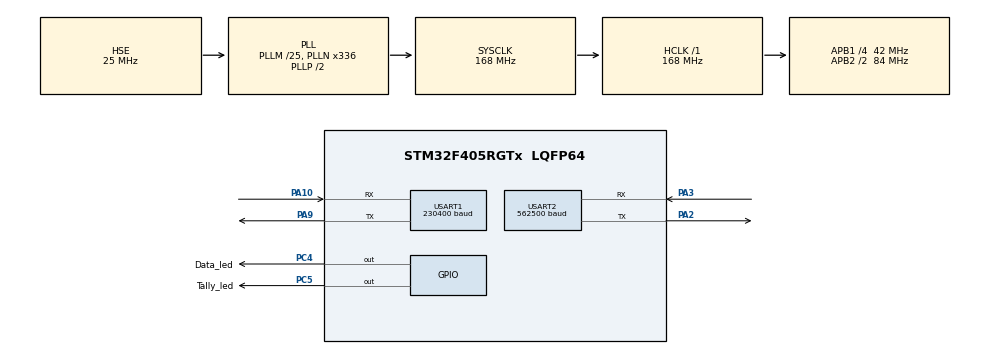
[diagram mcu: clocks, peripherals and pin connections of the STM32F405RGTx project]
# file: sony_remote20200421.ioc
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Dma.Request0=USART1_RX
Dma.Request1=USART1_TX
Dma.Request2=USART2_RX
Dma.Request3=USART2_TX
Dma.USART1_RX.0.Direction=DMA_PERIPH_TO_MEMORY
Dma.USART1_RX.0.FIFOMode=DMA_FIFOMODE_DISABLE
Dma.USART1_RX.0.Instance=DMA2_Stream2
Dma.USART1_RX.0.MemDataAlignment=DMA_MDATAALIGN_BYTE
Dma.USART1_RX.0.MemInc=DMA_MINC_ENABLE
Dma.USART1_RX.0.Mode=DMA_CIRCULAR
Dma.USART1_RX.0.PeriphDataAlignment=DMA_PDATAALIGN_BYTE
Dma.USART1_RX.0.PeriphInc=DMA_PINC_DISABLE
Dma.USART1_RX.0.Priority=DMA_PRIORITY_HIGH
Dma.USART1_TX.1.Direction=DMA_MEMORY_TO_PERIPH
Dma.USART1_TX.1.FIFOMode=DMA_FIFOMODE_DISABLE
Dma.USART1_TX.1.Instance=DMA2_Stream7
Dma.USART1_TX.1.MemDataAlignment=DMA_MDATAALIGN_BYTE
Dma.USART1_TX.1.MemInc=DMA_MINC_ENABLE
Dma.USART1_TX.1.Mode=DMA_NORMAL
Dma.USART1_TX.1.PeriphDataAlignment=DMA_PDATAALIGN_BYTE
Dma.USART1_TX.1.PeriphInc=DMA_PINC_DISABLE
Dma.USART1_TX.1.Priority=DMA_PRIORITY_HIGH
Dma.USART2_RX.2.Direction=DMA_PERIPH_TO_MEMORY
Dma.USART2_RX.2.FIFOMode=DMA_FIFOMODE_DISABLE
Dma.USART2_RX.2.Instance=DMA1_Stream5
Dma.USART2_RX.2.MemDataAlignment=DMA_MDATAALIGN_HALFWORD
Dma.USART2_RX.2.MemInc=DMA_MINC_ENABLE
Dma.USART2_RX.2.Mode=DMA_CIRCULAR
Dma.USART2_RX.2.PeriphDataAlignment=DMA_PDATAALIGN_HALFWORD
Dma.USART2_RX.2.PeriphInc=DMA_PINC_DISABLE
Dma.USART2_RX.2.Priority=DMA_PRIORITY_VERY_HIGH
Dma.USART2_TX.3.Direction=DMA_MEMORY_TO_PERIPH
Dma.USART2_TX.3.FIFOMode=DMA_FIFOMODE_DISABLE
Dma.USART2_TX.3.Instance=DMA1_Stream6
Dma.USART2_TX.3.MemDataAlignment=DMA_MDATAALIGN_HALFWORD
Dma.USART2_TX.3.MemInc=DMA_MINC_ENABLE
Dma.USART2_TX.3.Mode=DMA_NORMAL
Dma.USART2_TX.3.PeriphDataAlignment=DMA_PDATAALIGN_HALFWORD
Dma.USART2_TX.3.PeriphInc=DMA_PINC_DISABLE
Dma.USART2_TX.3.Priority=DMA_PRIORITY_VERY_HIGH
FREERTOS.INCLUDE_vTaskCleanUpResources=0
FREERTOS.INCLUDE_vTaskDelayUntil=0
FREERTOS.Tasks01=defaultTask,1,256,StartDefaultTask,Default,NULL,Dynamic,NULL,NULL;TaskUart8to9,0,4096,FuncTaskUart8to9,Default,NULL,Dynamic,NULL,NULL;TaskUart9to8,0,4096,FuncTaskUart9to8,Default,NULL,Dynamic,NULL,NULL
FREERTOS.configMAX_TASK_NAME_LEN=32
FREERTOS.configTOTAL_HEAP_SIZE=40960
FREERTOS.configUSE_COUNTING_SEMAPHORES=1
FREERTOS.configUSE_IDLE_HOOK=1
FREERTOS.configUSE_TRACE_FACILITY=1
IWDG.Prescaler=IWDG_PRESCALER_32
IWDG.Reload=1000
Mcu.Family=STM32F4
Mcu.Name=STM32F405RGTx
Mcu.Package=LQFP64
NVIC.DMA1_Stream5_IRQn=true\:5\:0\:false\:false\:true\:true\:false\:true
NVIC.DMA1_Stream6_IRQn=true\:5\:0\:false\:false\:true\:true\:false\:true
NVIC.DMA2_Stream2_IRQn=true\:5\:0\:false\:false\:true\:true\:false\:true
NVIC.DMA2_Stream7_IRQn=true\:5\:0\:false\:false\:true\:true\:false\:true
NVIC.PriorityGroup=NVIC_PRIORITYGROUP_4
NVIC.TIM1_UP_TIM10_IRQn=true\:0\:0\:false\:false\:true\:false\:false\:true
NVIC.TimeBase=TIM1_UP_TIM10_IRQn
NVIC.TimeBaseIP=TIM1
NVIC.USART1_IRQn=true\:5\:0\:false\:false\:true\:true\:true\:true
NVIC.USART2_IRQn=true\:5\:0\:false\:false\:true\:true\:true\:true
PA10.Mode=Asynchronous
PA10.Signal=USART1_RX
PA13.Mode=Serial_Wire
PA13.Signal=SYS_JTMS-SWDIO
PA14.Mode=Serial_Wire
PA14.Signal=SYS_JTCK-SWCLK
PA2.Mode=Asynchronous
PA2.Signal=USART2_TX
PA3.Mode=Asynchronous
PA3.Signal=USART2_RX
PA9.Mode=Asynchronous
PA9.Signal=USART1_TX
PC4.GPIO_Label=Data_led
PC4.GPIO_PuPd=GPIO_PULLUP
PC4.GPIO_Speed=GPIO_SPEED_FREQ_HIGH
PC4.PinState=GPIO_PIN_SET
PC4.Signal=GPIO_Output
PC5.GPIO_Label=Tally_led
PC5.GPIO_PuPd=GPIO_PULLUP
PC5.GPIO_Speed=GPIO_SPEED_FREQ_HIGH
PC5.PinState=GPIO_PIN_SET
PC5.Signal=GPIO_Output
PH0-OSC_IN.Mode=HSE-External-Oscillator
PH0-OSC_IN.Signal=RCC_OSC_IN
PH1-OSC_OUT.Mode=HSE-External-Oscillator
PH1-OSC_OUT.Signal=RCC_OSC_OUT
ProjectManager.HeapSize=0x200
ProjectManager.StackSize=0x400
ProjectManager.TargetToolchain=MDK-ARM V5
RCC.48MHZClocksFreq_Value=84000000
RCC.AHBFreq_Value=168000000
RCC.APB1CLKDivider=RCC_HCLK_DIV4
RCC.APB1Freq_Value=42000000
RCC.APB1TimFreq_Value=84000000
RCC.APB2CLKDivider=RCC_HCLK_DIV2
RCC.APB2Freq_Value=84000000
RCC.APB2TimFreq_Value=168000000
RCC.CortexFreq_Value=168000000
RCC.HCLKFreq_Value=168000000
RCC.HSE_VALUE=25000000
RCC.HSI_VALUE=16000000
RCC.LSE_VALUE=32768
RCC.PLLM=25
RCC.PLLN=336
RCC.PLLSourceVirtual=RCC_PLLSOURCE_HSE
RCC.SYSCLKFreq_VALUE=168000000
RCC.SYSCLKSource=RCC_SYSCLKSOURCE_PLLCLK
RCC.VCOOutputFreq_Value=336000000
USART1.BaudRate=230400
USART1.VirtualMode=VM_ASYNC
USART2.BaudRate=562500
USART2.VirtualMode=VM_ASYNC
USART2.WordLength=WORDLENGTH_9B
VP_FREERTOS_VS_CMSIS_V1.Mode=CMSIS_V1
VP_IWDG_VS_IWDG.Mode=IWDG_Activate
VP_SYS_VS_tim1.Mode=TIM1
board=custom

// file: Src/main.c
/* USER CODE BEGIN Header */
/**
  ******************************************************************************
  * @file           : main.c
  * @brief          : Main program body
  ******************************************************************************
  * @attention
  *
  * <h2><center>&copy; Copyright (c) 2020 STMicroelectronics.
  * All rights reserved.</center></h2>
  *
  * This software component is licensed by ST under Ultimate Liberty license
  * SLA0044, the "License"; You may not use this file except in compliance with
  * the License. You may obtain a copy of the License at:
  *                             www.st.com/SLA0044
  *
  ******************************************************************************
  */
/* USER CODE END Header */

#include "main.h"
#include "cmsis_os.h"
#include "dma.h"
#include "iwdg.h"
#include "usart.h"
#include "gpio.h"

void SystemClock_Config(void);
void MX_FREERTOS_Init(void);

int main(void)
{

  /* MCU Configuration--------------------------------------------------------*/

  /* Reset of all peripherals, Initializes the Flash interface and the Systick. */
  HAL_Init();

  /* Configure the system clock */
  SystemClock_Config();

  /* USER CODE BEGIN SysInit */
	osDelay(505);
  /* USER CODE END SysInit */

  /* Initialize all configured peripherals */
  MX_GPIO_Init();
  MX_DMA_Init();
  MX_USART1_UART_Init();
  MX_USART2_UART_Init();
  MX_IWDG_Init();
  /* USER CODE BEGIN 2 */
	osDelay(505);
  /* USER CODE END 2 */

  /* Call init function for freertos objects (in freertos.c) */
  MX_FREERTOS_Init();

	HAL_IWDG_Refresh(&hiwdg);
  /* Start scheduler */
  osKernelStart();

  /* We should never get here as control is now taken by the scheduler */
  /* Infinite loop */
  while (1)
  {

  }
}

void SystemClock_Config(void)
{
  RCC_OscInitTypeDef RCC_OscInitStruct = {0};
  RCC_ClkInitTypeDef RCC_ClkInitStruct = {0};

  /** Configure the main internal regulator output voltage
  */
  __HAL_RCC_PWR_CLK_ENABLE();
  __HAL_PWR_VOLTAGESCALING_CONFIG(PWR_REGULATOR_VOLTAGE_SCALE1);
  /** Initializes the CPU, AHB and APB busses clocks
  */
  RCC_OscInitStruct.OscillatorType = RCC_OSCILLATORTYPE_LSI|RCC_OSCILLATORTYPE_HSE;
  RCC_OscInitStruct.HSEState = RCC_HSE_ON;
  RCC_OscInitStruct.LSIState = RCC_LSI_ON;
  RCC_OscInitStruct.PLL.PLLState = RCC_PLL_ON;
  RCC_OscInitStruct.PLL.PLLSource = RCC_PLLSOURCE_HSE;
  RCC_OscInitStruct.PLL.PLLM = 25;
  RCC_OscInitStruct.PLL.PLLN = 336;
  RCC_OscInitStruct.PLL.PLLP = RCC_PLLP_DIV2;
  RCC_OscInitStruct.PLL.PLLQ = 4;
  if (HAL_RCC_OscConfig(&RCC_OscInitStruct) != HAL_OK)
  {
    Error_Handler();
  }
  /** Initializes the CPU, AHB and APB busses clocks
  */
  RCC_ClkInitStruct.ClockType = RCC_CLOCKTYPE_HCLK|RCC_CLOCKTYPE_SYSCLK
                              |RCC_CLOCKTYPE_PCLK1|RCC_CLOCKTYPE_PCLK2;
  RCC_ClkInitStruct.SYSCLKSource = RCC_SYSCLKSOURCE_PLLCLK;
  RCC_ClkInitStruct.AHBCLKDivider = RCC_SYSCLK_DIV1;
  RCC_ClkInitStruct.APB1CLKDivider = RCC_HCLK_DIV4;
  RCC_ClkInitStruct.APB2CLKDivider = RCC_HCLK_DIV2;

  if (HAL_RCC_ClockConfig(&RCC_ClkInitStruct, FLASH_LATENCY_5) != HAL_OK)
  {
    Error_Handler();
  }
}

 /**
  * @brief  Period elapsed callback in non blocking mode
  * @note   This function is called  when TIM1 interrupt took place, inside
  * HAL_TIM_IRQHandler(). It makes a direct call to HAL_IncTick() to increment
  * a global variable "uwTick" used as application time base.
  * @param  htim : TIM handle
  * @retval None
  */
void HAL_TIM_PeriodElapsedCallback(TIM_HandleTypeDef *htim)
{
  if (htim->Instance == TIM1) {
    HAL_IncTick();
  }
}

void Error_Handler(void)
{
}

/************************ (C) COPYRIGHT STMicroelectronics *****END OF FILE****/

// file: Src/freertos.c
/* USER CODE BEGIN Header */
/**
  ******************************************************************************
  * File Name          : freertos.c
  * Description        : Code for freertos applications
  ******************************************************************************
  * @attention
  *
  * <h2><center>&copy; Copyright (c) 2020 STMicroelectronics.
  * All rights reserved.</center></h2>
  *
  * This software component is licensed by ST under Ultimate Liberty license
  * SLA0044, the "License"; You may not use this file except in compliance with
  * the License. You may obtain a copy of the License at:
  *                             www.st.com/SLA0044
  *
  ******************************************************************************
  */
/* USER CODE END Header */

#include "FreeRTOS.h"
#include "task.h"
#include "main.h"
#include "cmsis_os.h"

/* USER CODE BEGIN Includes */
#include "usart.h"
#include "dma.h"
#include "lpk_queue.h"
#include "lpk_type.h"
#include "lpk_util.h"
#include "slip.h"
#include "iwdg.h"
/* USER CODE END Includes */

/* USER CODE BEGIN Variables */

u8 buff_8bit[1024] = {0};//队列数组
u8 buff_9bit[1024] = {0};//队列数组
QUE_TYPE que_8bit = {buff_8bit, sizeof(buff_8bit), 0, 0, 0};//队列定义
QUE_TYPE que_9bit = {buff_9bit, sizeof(buff_9bit), 0, 0, 0};//队列定义

/* USER CODE END Variables */
osThreadId defaultTaskHandle;
osThreadId TaskUart8to9Handle;
osThreadId TaskUart9to8Handle;

/* USER CODE BEGIN FunctionPrototypes */

u8 GetEven(u8 x);
u8 Sum8Check(u8 *buf, u32 len);

/* USER CODE END FunctionPrototypes */

void StartDefaultTask(void const * argument);
void FuncTaskUart8to9(void const * argument);
void FuncTaskUart9to8(void const * argument);

void MX_FREERTOS_Init(void); /* (MISRA C 2004 rule 8.1) */

/* GetIdleTaskMemory prototype (linked to static allocation support) */
void vApplicationGetIdleTaskMemory( StaticTask_t **ppxIdleTaskTCBBuffer, StackType_t **ppxIdleTaskStackBuffer, uint32_t *pulIdleTaskStackSize );

/* Hook prototypes */
void vApplicationIdleHook(void);

/* USER CODE BEGIN 2 */
__weak void vApplicationIdleHook( void )
{
   /* vApplicationIdleHook() will only be called if configUSE_IDLE_HOOK is set
   to 1 in FreeRTOSConfig.h. It will be called on each iteration of the idle
   task. It is essential that code added to this hook function never attempts
   to block in any way (for example, call xQueueReceive() with a block time
   specified, or call vTaskDelay()). If the application makes use of the
   vTaskDelete() API function (as this demo application does) then it is also
   important that vApplicationIdleHook() is permitted to return to its calling
   function, because it is the responsibility of the idle task to clean up
   memory allocated by the kernel to any task that has since been deleted. */
}
/* USER CODE END 2 */

/* USER CODE BEGIN GET_IDLE_TASK_MEMORY */
static StaticTask_t xIdleTaskTCBBuffer;
static StackType_t xIdleStack[configMINIMAL_STACK_SIZE];

void vApplicationGetIdleTaskMemory( StaticTask_t **ppxIdleTaskTCBBuffer, StackType_t **ppxIdleTaskStackBuffer, uint32_t *pulIdleTaskStackSize )
{
  *ppxIdleTaskTCBBuffer = &xIdleTaskTCBBuffer;
  *ppxIdleTaskStackBuffer = &xIdleStack[0];
  *pulIdleTaskStackSize = configMINIMAL_STACK_SIZE;
  /* place for user code */
}
/* USER CODE END GET_IDLE_TASK_MEMORY */

void MX_FREERTOS_Init(void) {

  /* Create the thread(s) */
  /* definition and creation of defaultTask */
  osThreadDef(defaultTask, StartDefaultTask, osPriorityAboveNormal, 0, 256);
  defaultTaskHandle = osThreadCreate(osThread(defaultTask), NULL);

  /* definition and creation of TaskUart8to9 */
  osThreadDef(TaskUart8to9, FuncTaskUart8to9, osPriorityNormal, 0, 4096);
  TaskUart8to9Handle = osThreadCreate(osThread(TaskUart8to9), NULL);

  /* definition and creation of TaskUart9to8 */
  osThreadDef(TaskUart9to8, FuncTaskUart9to8, osPriorityNormal, 0, 4096);
  TaskUart9to8Handle = osThreadCreate(osThread(TaskUart9to8), NULL);

}

void StartDefaultTask(void const * argument)
{
  /* USER CODE BEGIN StartDefaultTask */
	 for(;;)
  {
		HAL_IWDG_Refresh(&hiwdg);

    osDelay(500);
    // HAL_UART_Transmit_DMA(&huart1, "tick\r\n", 7);//DMA数据发�??
  }

  /* Infinite loop */

  /* USER CODE END StartDefaultTask */
}

void FuncTaskUart8to9(void const * argument)
{
  /* USER CODE BEGIN FuncTaskUart8to9 */

	  u8 data_recv[1024] = "";//数据接收缓冲�?
  u8 *data_recv_tmp = data_recv;
  u8 data_unslip[1024] = "";
  u8 data_send[1024] = "";//数据发�?�DMA缓冲�?
  u32 len = 0;
  u32 len_out;
  u32 len_remain = 0;
  u32 i = 0;
	//osDelay(1005);

  __HAL_UART_ENABLE_IT(&huart1, UART_IT_IDLE);//打开uart1数据接收中断
  DmaRxStart(&huart1);//�?始DMA数据接收

  /* Infinite loop */
    for(;;)
  {
    // osDelay(100);
    //?????? ,?????????
    ulTaskNotifyTake(pdFALSE, portMAX_DELAY);

    len = QuePop(&que_8bit, data_recv, sizeof(data_recv));//???????
    HAL_GPIO_TogglePin(GPIOC, Tally_led_Pin);

    data_recv_tmp = SlipUnpacket(data_recv, len, data_unslip, &len_out);

    while(len_out > 0){
      SEGGER_RTT_printf(0,"receive from wirless\r\n");

      // while(HAL_UART_Transmit_DMA(&huart1, "mark1\r\n", 7) != HAL_OK);//DMA数据发�??
      if(Sum8Check(data_unslip, len_out)){
        for(i = 0; i < len_out; i++){
          data_send[i << 1] = data_unslip[i];
          if(i < 3){
            data_send[(i << 1) + 1] = GetEven(data_unslip[i]);//??????
          }else{
            data_send[(i << 1) + 1] = GetEven(data_unslip[i]) ? 0 : 1;//??????
          }
        }
      }
      while(HAL_UART_Transmit_DMA(&huart2, data_send, len_out) != HAL_OK);//DMA��据发???
      SEGGER_RTT_printf(0,"send to cam\r\n");

      len_remain = len - (data_recv_tmp - data_recv);
      data_recv_tmp = SlipUnpacket(data_recv_tmp, len_remain, data_unslip, &len_out);
    }

  }
  /* USER CODE END FuncTaskUart8to9 */
}

void FuncTaskUart9to8(void const * argument)
{
  /* USER CODE BEGIN FuncTaskUart9to8 */

	u8 data_recv[1024] = "";//数据接收缓冲�?
  u8 data_send[1024] = "";//数据发�?�DMA缓冲�?
  u8 data_send_slip[1024] = "";
  u32 index_data_send = 0;
  u32 len = 0;
  u32 i = 0;
  u32 len_frame = 0;
	//osDelay(1000);
  __HAL_UART_ENABLE_IT(&huart2, UART_IT_IDLE);//打开uart2数据接收中断
  DmaRxStart(&huart2);//�?始DMA数据接收

  /* Infinite loop */
  for(;;)
  {
    // osDelay(100);
    //?????? ,?????????
    ulTaskNotifyTake(pdFALSE, portMAX_DELAY);

    len = QuePop(&que_9bit, data_recv, sizeof(data_recv) >> 1);

     HAL_GPIO_TogglePin(GPIOC, Data_led_Pin);

    if(len > 0){
      SEGGER_RTT_printf(0,"receive from cam\r\n");
      for(i = 0; i < len; i += 2){
        switch(index_data_send){
            case 0:
            if(data_recv[i + 1] == GetEven(data_recv[i])){//????????
              data_send[index_data_send++] = data_recv[i];
              // while(HAL_UART_Transmit_DMA(&huart1, "mark1\r\n", 7) != HAL_OK);//DMA数据发�??
            }
            break;
          case 1:
            if(data_recv[i + 1] == GetEven(data_recv[i])){//????????
              len_frame = data_recv[i] + 3;
              if(IN_RANGE(len_frame, 5, 64)){
                data_send[index_data_send++] = data_recv[i];
                // while(HAL_UART_Transmit_DMA(&huart1, "mark2\r\n", 7) != HAL_OK);//DMA数据发�??
              }else{
                data_send[0] = data_recv[i];
                index_data_send = 1;
              }
            }else{
              index_data_send = 0;//??????
            }
            break;
          case 2:
            if(data_recv[i + 1] == GetEven(data_recv[i])){//????????
                data_send[index_data_send++] = data_recv[i];
                // while(HAL_UART_Transmit_DMA(&huart1, "mark3\r\n", 7) != HAL_OK);//DMA数据发�??
            }else{
              index_data_send = 0;//??????
            }
           break;
          default:
            if(data_recv[i + 1] == (GetEven(data_recv[i]) ? 0 : 1)){//???
              data_send[index_data_send++] = data_recv[i];
              if(index_data_send >= len_frame){
                if(Sum8Check(data_send, len_frame)){
                  // while(HAL_UART_Transmit_DMA(&huart1, "mark4\r\n", 7) != HAL_OK);//DMA数据发�??
                  len_frame = SlipPacket(data_send, len_frame, data_send_slip);
                  while(HAL_UART_Transmit_DMA(&huart1, data_send_slip, len_frame) != HAL_OK);//DMA数据发�??
                  SEGGER_RTT_printf(0,"send to wirless\r\n");
									//  HAL_GPIO_TogglePin(GPIOC, Data_led_Pin);
									//SEGGER_RTT_printf(0,"%x ",buf[i]);
                }
                index_data_send = 0;//????????
              }
            }else{//????????
              data_send[0] = data_recv[i];
              index_data_send = 1;
            }
        }//end switch
      }//end for
    }
  }
  /* USER CODE END FuncTaskUart9to8 */
}

/* USER CODE BEGIN Application */
/**
 * @brief  ??????
 * @note
 * @param  x: ??????
 * @retval ???
 */
u8 GetEven(u8 x)
{
  u8 i = 0, ret = 0;
  for(i = 0; i < 8; i++){
    if(x & 0x01){
      ret++;
    }
    x >>= 1;
  }
  return (ret & 0x01);
}

/**
 * @brief
 * @note
 * @param  buf:
 * @param  len:
 * @retval
 */
u8 Sum8Check(u8 *buf, u32 len)
{
	u8 sum = 0;
  u8 i = 0;

	if(len < 1){
    return 0;
  }

	for(i = 0; i < len - 1; i++){
		sum += buf[i];
	}

	sum = ( u8 ) ( 0x100 - sum );

	if( sum == buf[len-1] )
	{
		return 1;
	}
	else
	{
		return 0;
	}
}
/* USER CODE END Application */

/************************ (C) COPYRIGHT STMicroelectronics *****END OF FILE****/
